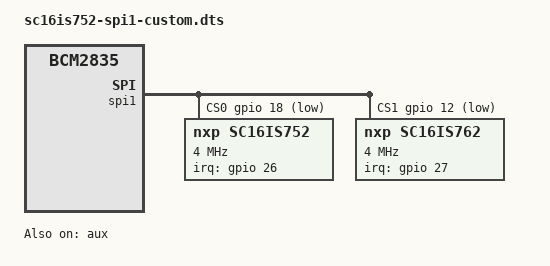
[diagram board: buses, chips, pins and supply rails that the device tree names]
/dts-v1/;
/plugin/;

/ {
	compatible = "brcm,bcm2835";
	fragment@0 {
		target = <&gpio>;
		__overlay__ {
			spi1_pins: spi1_pins {
				brcm,pins = <19 20 21>;
				brcm,function = <3>;
			};
			spi1_cs_pins: spi1_cs_pins {
				brcm,pins = <18 12>;
				brcm,function = <1>;
			};
		};
	};
	fragment@1 {
		target = <&spi1>;
		__overlay__ {
			#address-cells = <1>;
			#size-cells = <0>;
			pinctrl-names = "default";
			pinctrl-0 = <&spi1_pins &spi1_cs_pins>;
			cs-gpios = <&gpio 18 1>, <&gpio 12 1>;
			status = "okay";
			sc16is752@0 {
				compatible = "nxp,sc16is752";
				reg = <0>;
				clocks = <&sc16is752_clk>;
				interrupt-parent = <&gpio>;
				interrupts = <26 2>;
				#gpio-controller;
				#gpio-cells = <2>;
				spi-max-frequency = <4000000>;
				sc16is752_clk: sc16is752_clk {
					compatible = "fixed-clock";
					#clock-cells = <0>;
					clock-frequency = <14745600>;
				};
			};
		};
	};
	fragment@2 {
		target = <&aux>;
		__overlay__ {
			status = "okay";
		};
	};
	fragment@3 {
		target = <&gpio>;
		__overlay__ {
			spi1_pins_1: spi1_pins {
				brcm,pins = <19 20 21>;
				brcm,function = <3>;
			};
			spi1_cs_pins_1: spi1_cs_pins {
				brcm,pins = <18 12>;
				brcm,function = <1>;
			};
		};
	};
	fragment@4 {
		target = <&spi1>;
		__overlay__ {
			#address-cells = <1>;
			#size-cells = <0>;
			pinctrl-names = "default";
			pinctrl-0 = <&spi1_pins_1 &spi1_cs_pins_1>;
			cs-gpios = <&gpio 18 1>, <&gpio 12 1>;
			status = "okay";
			sc16is762@1 {
				compatible = "nxp,sc16is762";
				reg = <1>;
				clocks = <&sc16is762_clk_1>;
				interrupt-parent = <&gpio>;
				interrupts = <27 2>;
				#gpio-controller;
				#gpio-cells = <2>;
				spi-max-frequency = <4000000>;
				sc16is762_clk_1: sc16is762_clk {
					compatible = "fixed-clock";
					#clock-cells = <0>;
					clock-frequency = <14745600>;
				};
			};
		};
	};
	fragment@5 {
		target = <&aux>;
		__overlay__ {
			status = "okay";
		};
	};
};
